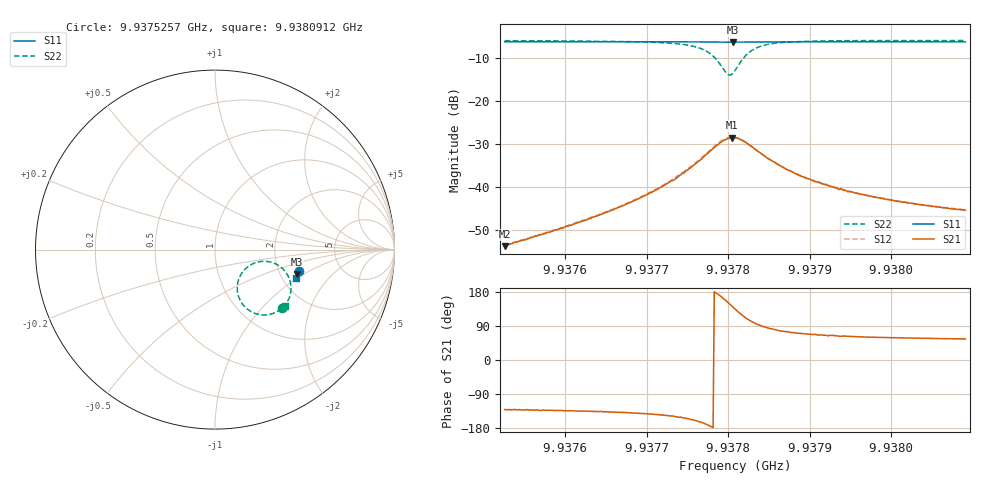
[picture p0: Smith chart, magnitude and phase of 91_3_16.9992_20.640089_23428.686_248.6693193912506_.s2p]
#  HZ  S  RI  R  50.00
! Rohde & Schwarz Vector Network Analyzer
! Rohde-Schwarz,ZNB20-2Port,1311601062101988,3.16
! Created: UTC 3/20/2024, 10:56:08 PM
! freq[Hz]  re:S11  im:S11  re:S21  im:S21  re:S12  im:S12  re:S22  im:S22
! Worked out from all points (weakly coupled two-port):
!   401 points, 9.9375257 GHz to 9.9380912 GHz, reference 50 ohm
!   highest |S21| = -28.58 dB at 9.9378042 GHz (marker M1); lowest = -53.8 dB at 9.9375257 GHz (marker M2)
!   lowest |S11| = -6.4 dB at 9.9378056 GHz (marker M3), VSWR 2.82, Z = 123 - j43.6 ohm
!   |S11| at or under -10 dB: nowhere
!   |S22| runs from -14.1 to -6.0 dB; largest |S21 - S12| = 0.002
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9.93752567e9  0.467 -0.1209  -0.00133 -0.00155  -0.0014 -0.00157  0.3716 -0.3281
9.9376204e9  0.4647 -0.1273  -0.0028 -0.00279  -0.00288 -0.00285  0.3539 -0.3409
9.93766989e9  0.4635 -0.1308  -0.00444 -0.00399  -0.0046 -0.00397  0.3367 -0.3504
9.93771514e9  0.4622 -0.1341  -0.0078 -0.00558  -0.00808 -0.00555  0.3052 -0.3607
9.93773493e9  0.4613 -0.1354  -0.0105 -0.00627  -0.011 -0.00635  0.2799 -0.364
9.93775473e9  0.4602 -0.1371  -0.0156 -0.00651  -0.016 -0.00639  0.2391 -0.3603
9.93776887e9  0.4593 -0.1379  -0.021 -0.00535  -0.0219 -0.00501  0.1951 -0.3419
9.93778159e9  0.458 -0.1382  -0.0278 -0.000744  -0.0287 0.000125  0.1469 -0.2941
9.93779149e9  0.4573 -0.1381  -0.0322 0.00738  -0.0329 0.00874  0.1242 -0.2212
9.93779856e9  0.4568 -0.1375  -0.0323 0.0156  -0.0325 0.0175  0.1368 -0.1541
9.93780422e9  0.4568 -0.1372  -0.0298 0.0223  -0.0292 0.0241  0.1712 -0.1055
9.93780563e9  0.4567 -0.1369  -0.0286 0.0237  -0.0278 0.0254  0.1829 -0.0956
9.93780846e9  0.4571 -0.1369  -0.026 0.0263  -0.025 0.0278  0.2081 -0.08
9.93781553e9  0.4576 -0.1367  -0.0183 0.03  -0.0167 0.0312  0.2754 -0.0649
9.9378226e9  0.4584 -0.137  -0.0109 0.0303  -0.00973 0.0307  0.3323 -0.077
9.93782967e9  0.4589 -0.1374  -0.00528 0.0285  -0.00417 0.0286  0.3717 -0.1014
9.93783815e9  0.4592 -0.1383  -0.00107 0.0252  -0.000249 0.0252  0.3994 -0.1337
9.93786926e9  0.4594 -0.1413  0.00423 0.0158  0.00455 0.0159  0.4236 -0.215
9.93790319e9  0.4586 -0.144  0.00443 0.0109  0.00482 0.0108  0.4179 -0.2556
9.93794703e9  0.4576 -0.1471  0.00399 0.00773  0.0043 0.00788  0.4083 -0.2815
9.93799793e9  0.4563 -0.1508  0.00361 0.00603  0.00377 0.00605  0.3993 -0.2974
9.93809125e9  0.454 -0.1568  0.00301 0.00439  0.00312 0.00437  0.3876 -0.3139
